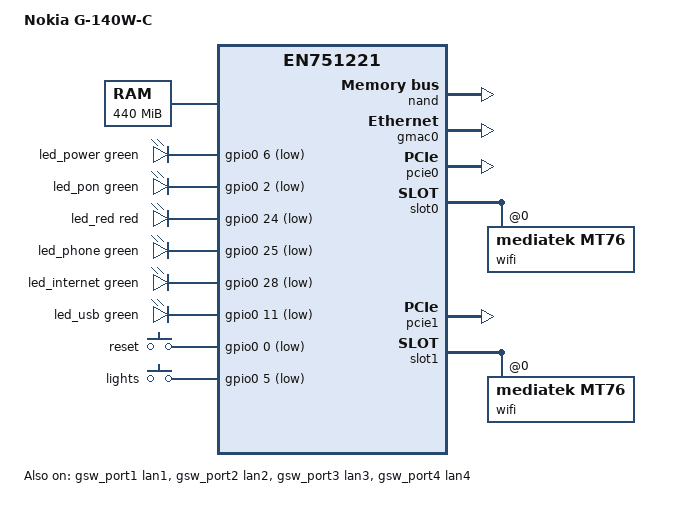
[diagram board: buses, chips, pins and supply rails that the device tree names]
// SPDX-License-Identifier: (GPL-2.0-only OR BSD-2-Clause)
/*
 * Nokia G-140W-C (EcoNet EN7526G, 512 MiB DDR3, 256 MiB SPI-NAND W25M02GV,
 * MT7592 + MT7612E)
 *
 * Derived from en751221_nokia_g240g-e.dts, which has an identical flash
 * layout.
 */

/dts-v1/;

#include <dt-bindings/gpio/gpio.h>
#include <dt-bindings/input/input.h>
#include <dt-bindings/leds/common.h>

#include "en751221g.dtsi"

/ {
	model = "Nokia G-140W-C";
	compatible = "nokia,g140w-c", "econet,en751221";

	/*
	 * 512 MiB DDR3 fitted, but only the part below the 0x1c000000 I/O
	 * window is reachable; the stock kernel uses 0x0-0x1b800000 (440 MiB).
	 */
	memory@0 {
		device_type = "memory";
		reg = <0x00000000 0x1b800000>;
	};

	chosen {
		stdout-path = "/serial@1fbf0000:115200";
		linux,usable-memory-range = <0x00020000 0x1b7e0000>;
	};

	aliases {
		led-boot = &led_power;
		led-failsafe = &led_red;
		led-running = &led_power;
		led-upgrade = &led_pon;
	};

	/*
	 * The stock led_drv.ko/gpio_mgr.ko have a table for this board
	 * ("G140WC"): power GPIO 6, PON GPIO 2, LOS GPIO 24, Internet GPIO 28,
	 * phone GPIO 25 (LED id 9, used by the SIP app) and USB GPIO 11 (LED
	 * ids 15/67, used by the USB notifier). All active-low; each one was
	 * lit from Linux and matched to its D-number on the PCB. GPIO 27 is the
	 * PON laser TX-disable line and must stay alone. The 2.4 GHz WLAN LED
	 * (D505) hangs off the MT7592 (see &slot0).
	 * Edge order from the power LED (D508): D501 D504 D510 D511 D512 D502
	 * D506 D513 D505 D515 D514 D503.
	 * D510, D511, D512, D502, D513 and D515 are not on SoC GPIOs.
	 */
	leds {
		compatible = "gpio-leds";

		led_power: led-0 {
			color = <LED_COLOR_ID_GREEN>;
			function = LED_FUNCTION_POWER;
			gpios = <&gpio0 6 GPIO_ACTIVE_LOW>;
		};

		led_pon: led-1 {
			/* D501, "PON" position (2nd from power) */
			color = <LED_COLOR_ID_GREEN>;
			function = LED_FUNCTION_WAN;
			gpios = <&gpio0 2 GPIO_ACTIVE_LOW>;
		};

		led_red: led-2 {
			/* D504, red, "LOS" position (3rd from power) */
			color = <LED_COLOR_ID_RED>;
			function = LED_FUNCTION_ALARM;
			gpios = <&gpio0 24 GPIO_ACTIVE_LOW>;
		};

		led_phone: led-3 {
			/* D506, phone (no VoIP in OpenWrt, so free to reassign) */
			color = <LED_COLOR_ID_GREEN>;
			function = "phone";
			gpios = <&gpio0 25 GPIO_ACTIVE_LOW>;
		};

		led_internet: led-4 {
			/* D503, "Internet" in the stock table */
			color = <LED_COLOR_ID_GREEN>;
			function = LED_FUNCTION_WAN_ONLINE;
			gpios = <&gpio0 28 GPIO_ACTIVE_LOW>;
		};

		led_usb: led-5 {
			/* D514, USB */
			color = <LED_COLOR_ID_GREEN>;
			function = LED_FUNCTION_USB;
			gpios = <&gpio0 11 GPIO_ACTIVE_LOW>;
		};
	};

	/*
	 * From the stock button_driver.ko table for this board: reset on GPIO 0
	 * and an "LED" (lights on/off) button on GPIO 5, both idle high. The
	 * WLAN and WPS buttons are wired to the Wi-Fi chip, which mt76 cannot
	 * read.
	 */
	keys {
		compatible = "gpio-keys-polled";
		poll-interval = <100>;

		key-reset {
			label = "reset";
			linux,code = <KEY_RESTART>;
			gpios = <&gpio0 0 GPIO_ACTIVE_LOW>;
		};

		key-lights {
			label = "lights";
			linux,code = <KEY_LIGHTS_TOGGLE>;
			gpios = <&gpio0 5 GPIO_ACTIVE_LOW>;
		};
	};
};

&nand {
	status = "okay";
	econet,bmt;

	partitions {
		compatible = "fixed-partitions";
		#address-cells = <1>;
		#size-cells = <1>;

		partition@0 {
			label = "bootloader";
			reg = <0x0 0x40000>;
			read-only;
		};

		partition@40000 {
			label = "romfile";
			reg = <0x40000 0x40000>;
		};

		/*
		 * Slot A (stock "linux" / "image0"). The bootloader writes the
		 * factory image across all of it; OpenWrt splits it into a raw
		 * TRX kernel and a UBI area holding rootfs + rootfs_data.
		 * Slot B ("kernel_slave"/"rootfs_slave") keeps the stock firmware.
		 *
		 * Slot A has no econet,enable-remap. With it, a read error in
		 * old stock data makes the BMT driver remap the block, and the
		 * bootloader redoes such a remap on every boot once UBI has
		 * erased the replacement block and its mapping mark, which
		 * wipes UBI data. Test images had remapped blocks 36-58 of the
		 * reference unit that way, so UBI starts after them, at block 59.
		 */
		partition@80000 {
			label = "tclinux";
			reg = <0x80000 0x2200000>;
		};

		partition1@80000 {
			label = "tclinux_kernel";
			reg = <0x80000 0x400000>;
		};

		partition@760000 {
			label = "ubi";
			reg = <0x760000 0x1b20000>;

			volumes {
				ubi-volume-calibration {
					volname = "calibration";

					nvmem-layout {
						compatible = "fixed-layout";
						#address-cells = <1>;
						#size-cells = <1>;

						eeprom_cal_2g: eeprom@0 {
							reg = <0x0 0x400>;
						};

						eeprom_cal_5g: eeprom@400 {
							reg = <0x400 0x200>;
						};
					};
				};
			};
		};

		/* Stock firmware stays here: fallback via the bootloader flag */
		partition@2280000 {
			label = "kernel_slave";
			reg = <0x2280000 0x300000>;
			read-only;
		};

		partition@2580000 {
			label = "rootfs_slave";
			reg = <0x2580000 0x1f00000>;
			read-only;
		};

		partition@4480000 {
			label = "kernel_oflt";
			reg = <0x4480000 0x300000>;
			read-only;
		};

		partition@4780000 {
			label = "rootfs_oflt";
			reg = <0x4780000 0xc00000>;
			read-only;
		};

		partition@5380000 {
			label = "config";
			reg = <0x5380000 0x800000>;
			read-only;
		};

		partition@5b80000 {
			label = "log";
			reg = <0x5b80000 0xc00000>;
		};

		partition@6780000 {
			label = "extfs";
			reg = <0x6780000 0x600000>;
		};

		partition@6d80000 {
			label = "bosa";
			reg = <0x6d80000 0x40000>;
			read-only;
		};

		partition@6dc0000 {
			label = "flag";
			reg = <0x6dc0000 0x40000>;
		};

		partition@6e00000 {
			label = "flagback";
			reg = <0x6e00000 0x40000>;
		};

		partition@6e40000 {
			label = "ri";
			reg = <0x6e40000 0x40000>;
			read-only;

			nvmem-layout {
				compatible = "fixed-layout";
				#address-cells = <1>;
				#size-cells = <1>;

				/* Base MAC: the same value ritool reports as MACAddress */
				macaddr_ri_3e: macaddr@3e {
					compatible = "mac-base";
					reg = <0x3e 0x6>;
					#nvmem-cell-cells = <1>;
				};
			};
		};

		partition@6e80000 {
			label = "riback";
			reg = <0x6e80000 0x40000>;
			read-only;
		};
	};
};

&gmac0 {
	status = "okay";
	nvmem-cells = <&macaddr_ri_3e 0>;
	nvmem-cell-names = "mac-address";
};

/*
 * Radio placement confirmed from the stock boot log: MT7592 (14c3:7603) on
 * PCIe RC0, MT7612E (14c3:7662, 64-bit BAR) on the Gen2 RC1.
 *
 * Their calibration comes from the "calibration" UBI volume, which
 * sysupgrade fills from the stock settings (see platform.sh).
 */
&pcie0 {
	status = "okay";
};

&slot0 {
	wifi@0,0 {
		/* MT7592 2.4 GHz (mt7603 driver); stock used base MAC + 0x9 */
		compatible = "mediatek,mt76";
		reg = <0x0000 0 0 0 0>;
		nvmem-cells = <&eeprom_cal_2g>, <&macaddr_ri_3e 9>;
		nvmem-cell-names = "eeprom", "mac-address";

		/* LED pin 0 drives the front WLAN LED; it is active-low */
		led {
			led-active-low;
		};
	};
};

&pcie1 {
	status = "okay";
};

&slot1 {
	wifi@0,0 {
		/* MT7612E 5 GHz; stock used base MAC + 0xd */
		compatible = "mediatek,mt76";
		reg = <0x0000 0 0 0 0>;
		nvmem-cells = <&eeprom_cal_5g>, <&macaddr_ri_3e 13>;
		nvmem-cell-names = "eeprom", "mac-address";
	};
};

/*
 * The LAN sockets are on the MT7530 module inside the EN7526G (MDIO address
 * 31), behind port 5 of the on-die switch, which en751221g.dtsi sets up.
 * LAN1-LAN4 are its ports 1-4 (LAN2 and LAN4 checked with the port counters,
 * matching the stock port map). Port 0 has a PHY but no socket.
 */
&gsw_port1 {
	status = "okay";
	label = "lan1";
};

&gsw_port2 {
	status = "okay";
	label = "lan2";
};

&gsw_port3 {
	status = "okay";
	label = "lan3";
};

&gsw_port4 {
	status = "okay";
	label = "lan4";
};
